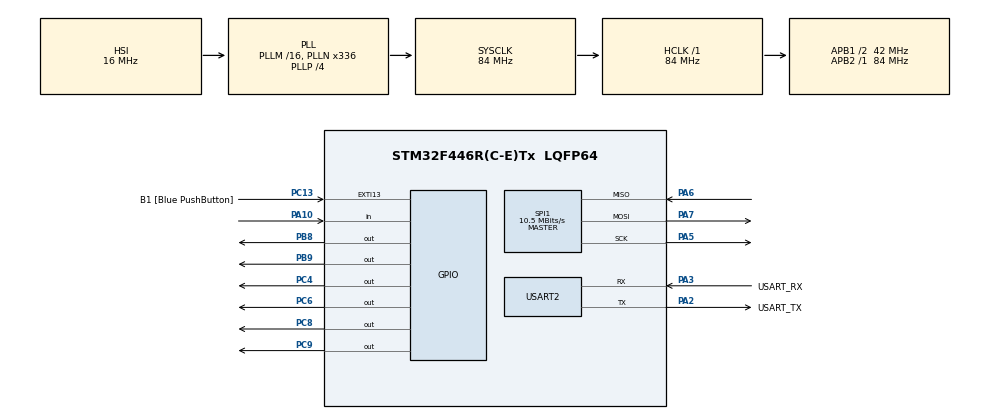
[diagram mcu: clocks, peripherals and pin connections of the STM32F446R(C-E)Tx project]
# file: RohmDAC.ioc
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Mcu.Family=STM32F4
Mcu.Name=STM32F446R(C-E)Tx
Mcu.Package=LQFP64
NVIC.PriorityGroup=NVIC_PRIORITYGROUP_0
PA10.Signal=GPIO_Input
PA13.GPIO_Label=TMS
PA13.Mode=Serial_Wire
PA13.Signal=SYS_JTMS-SWDIO
PA14.GPIO_Label=TCK
PA14.Mode=Serial_Wire
PA14.Signal=SYS_JTCK-SWCLK
PA2.GPIO_Label=USART_TX
PA2.Mode=Asynchronous
PA2.Signal=USART2_TX
PA3.GPIO_Label=USART_RX
PA3.Mode=Asynchronous
PA3.Signal=USART2_RX
PA5.Mode=Full_Duplex_Master
PA5.Signal=SPI1_SCK
PA6.Mode=Full_Duplex_Master
PA6.Signal=SPI1_MISO
PA7.Mode=Full_Duplex_Master
PA7.Signal=SPI1_MOSI
PB3.GPIO_Label=SWO
PB3.Signal=SYS_JTDO-SWO
PB8.Signal=GPIO_Output
PB9.Signal=GPIO_Output
PC13.GPIO_Label=B1 [Blue PushButton]
PC13.GPIO_ModeDefaultEXTI=GPIO_MODE_IT_FALLING
PC13.Signal=GPXTI13
PC14-OSC32_IN.Mode=LSE-External-Oscillator
PC14-OSC32_IN.Signal=RCC_OSC32_IN
PC15-OSC32_OUT.Mode=LSE-External-Oscillator
PC15-OSC32_OUT.Signal=RCC_OSC32_OUT
PC4.Signal=GPIO_Output
PC6.Signal=GPIO_Output
PC8.Signal=GPIO_Output
PC9.Signal=GPIO_Output
PH0-OSC_IN.Mode=HSE-External-Oscillator
PH0-OSC_IN.Signal=RCC_OSC_IN
PH1-OSC_OUT.Mode=HSE-External-Oscillator
PH1-OSC_OUT.Signal=RCC_OSC_OUT
ProjectManager.HeapSize=0x200
ProjectManager.StackSize=0x400
ProjectManager.TargetToolchain=STM32CubeIDE
RCC.48MHZClocksFreq_Value=84000000
RCC.AHBFreq_Value=84000000
RCC.APB1CLKDivider=RCC_HCLK_DIV2
RCC.APB1Freq_Value=42000000
RCC.APB1TimFreq_Value=84000000
RCC.APB2Freq_Value=84000000
RCC.APB2TimFreq_Value=84000000
RCC.CortexFreq_Value=84000000
RCC.FLatency-AdvancedSettings=FLASH_LATENCY_2
RCC.HCLKFreq_Value=84000000
RCC.HSE_VALUE=8000000
RCC.HSI_VALUE=16000000
RCC.PLLN=336
RCC.PLLP=RCC_PLLP_DIV4
RCC.SYSCLKFreq_VALUE=84000000
RCC.SYSCLKSource=RCC_SYSCLKSOURCE_PLLCLK
RCC.USBFreq_Value=168000000
RCC.VCOOutputFreq_Value=336000000
SPI1.BaudRatePrescaler=SPI_BAUDRATEPRESCALER_8
SPI1.CLKPolarity=SPI_POLARITY_HIGH
SPI1.CalculateBaudRate=10.5 MBits/s
SPI1.Direction=SPI_DIRECTION_2LINES
SPI1.Mode=SPI_MODE_MASTER
SPI1.VirtualType=VM_MASTER
USART2.VirtualMode=VM_ASYNC
board=NUCLEO-F446RE

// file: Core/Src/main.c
/* USER CODE BEGIN Header */
/**
  ******************************************************************************
  * @file           : main.c
  * @brief          : Main program body
  ******************************************************************************
  * @attention
  *
  * Copyright (c) 2024 STMicroelectronics.
  * All rights reserved.
  *
  * This software is licensed under terms that can be found in the LICENSE file
  * in the root directory of this software component.
  * If no LICENSE file comes with this software, it is provided AS-IS.
  *
  ******************************************************************************
  */
/* USER CODE END Header */
#include "main.h"

SPI_HandleTypeDef hspi1;

UART_HandleTypeDef huart2;

void SystemClock_Config(void);
static void MX_GPIO_Init(void);
static void MX_USART2_UART_Init(void);
static void MX_SPI1_Init(void);

/* USER CODE BEGIN 0 */
void spi_write_8(uint8_t data){
  uint8_t rx_data[1];
  uint8_t tx_data[1];

  tx_data[0] = data;

  HAL_SPI_TransmitReceive(&hspi1, tx_data, rx_data, 1, 1);  //spinumber, tx, rx, data number, timeout
  HAL_GPIO_WritePin(GPIOA, GPIO_PIN_7, GPIO_PIN_SET);
}

void spi_write_8x3(uint8_t deviceAddr, uint8_t regAddr, uint8_t data){
	spi_write_8(deviceAddr);
	spi_write_8(regAddr);
	spi_write_8(data);
}

void initBD34352EKV(){
	spi_write_8x3(0x38, 0x04, 0x02);
	spi_write_8x3(0x38, 0x06, 0x00);
	spi_write_8x3(0x38, 0x10, 0b00001011);
	spi_write_8x3(0x38, 0x12, 0x00);
	spi_write_8x3(0x38, 0x13, 0x00);
	spi_write_8x3(0x38, 0x14, 0x00);
	spi_write_8x3(0x38, 0x16, 0b00000100);
	spi_write_8x3(0x38, 0x17, 0x00);
	spi_write_8x3(0x38, 0x20, 0x78);
	spi_write_8x3(0x38, 0x21, 0x00);
	spi_write_8x3(0x38, 0x22, 0x00);
	spi_write_8x3(0x38, 0x29, 0x08);
	spi_write_8x3(0x38, 0x30, 0x00);
	spi_write_8x3(0x38, 0x31, 0x00);
	spi_write_8x3(0x38, 0x33, 0x00);
	spi_write_8x3(0x38, 0x34, 0x00);
	spi_write_8x3(0x38, 0x40, 0x00);
	spi_write_8x3(0x38, 0x41, 0x00);
	spi_write_8x3(0x38, 0x42, 0x16);
	spi_write_8x3(0x38, 0x43, 0x2d);
	spi_write_8x3(0x38, 0x48, 0x0d);
	spi_write_8x3(0x38, 0x60, 0x16);
	spi_write_8x3(0x38, 0x61, 0x16);

	spi_write_8x3(0x38, 0x00, 0x01);
	spi_write_8x3(0x38, 0x02, 0x01);

	spi_write_8x3(0x38, 0xd0, 0x6a);
	spi_write_8x3(0x38, 0xd3, 0x10);
	spi_write_8x3(0x38, 0xd3, 0x00);
	spi_write_8x3(0x38, 0xd0, 0x00);

	spi_write_8x3(0x38, 0x03, 0x01);
	spi_write_8x3(0x38, 0x2f, 0x80);
	spi_write_8x3(0x38, 0x2f, 0x00);
	spi_write_8x3(0x38, 0x2a, 0x03);
}
/* USER CODE END 0 */

int main(void)
{

  /* MCU Configuration--------------------------------------------------------*/

  /* Reset of all peripherals, Initializes the Flash interface and the Systick. */
  HAL_Init();

  /* USER CODE BEGIN Init */
  HAL_Delay(1);
  HAL_GPIO_WritePin(GPIOC, GPIO_PIN_9, GPIO_PIN_SET);
  HAL_Delay(1);
  HAL_GPIO_WritePin(GPIOC, GPIO_PIN_8, GPIO_PIN_SET);
  HAL_Delay(1);
  HAL_GPIO_WritePin(GPIOB, GPIO_PIN_8, GPIO_PIN_SET);
  HAL_Delay(1);
  HAL_GPIO_WritePin(GPIOC, GPIO_PIN_6, GPIO_PIN_SET);
  HAL_Delay(1);
  HAL_GPIO_WritePin(GPIOB, GPIO_PIN_9, GPIO_PIN_SET);
  HAL_Delay(1);

  /* USER CODE END Init */

  /* Configure the system clock */
  SystemClock_Config();

  /* Initialize all configured peripherals */
  MX_GPIO_Init();
  MX_USART2_UART_Init();
  MX_SPI1_Init();

  /* Infinite loop */
  while (1)
  {

    /* USER CODE BEGIN 3 */
	HAL_Delay(1);
    HAL_GPIO_WritePin(GPIOC, GPIO_PIN_9, GPIO_PIN_SET);
    HAL_Delay(1);
    HAL_GPIO_WritePin(GPIOC, GPIO_PIN_8, GPIO_PIN_SET);
    HAL_Delay(1);
    HAL_GPIO_WritePin(GPIOB, GPIO_PIN_8, GPIO_PIN_SET);
    HAL_Delay(1);
    HAL_GPIO_WritePin(GPIOC, GPIO_PIN_6, GPIO_PIN_SET);
    HAL_Delay(1);
    HAL_GPIO_WritePin(GPIOB, GPIO_PIN_9, GPIO_PIN_SET);
    HAL_Delay(1);
    HAL_GPIO_WritePin(GPIOA, GPIO_PIN_7, GPIO_PIN_SET);
    HAL_Delay(1);
    initBD34352EKV();
    /*
	spi_write_8x3(0x38, 0x04, 0x02);	//HiResならdata�?0x02じゃなくて0x00
	spi_write_8x3(0x38, 0x06, 0x00);
	spi_write_8x3(0x38, 0x10, 0x0b);
	spi_write_8x3(0x38, 0x30, 0x01);	//hiresなら適宜変更
	spi_write_8x3(0x38, 0x31, 0x80);	//hiresなら適宜変更
	spi_write_8x3(0x38, 0x40, 0x02);	//hiresなら適宜変更
	spi_write_8x3(0x38, 0x60, 0x16);
	spi_write_8x3(0x38, 0x61, 0x16);
	*/
    HAL_GPIO_WritePin(GPIOA, GPIO_PIN_7, GPIO_PIN_SET);
	HAL_Delay(1000000);

  }
  /* USER CODE END 3 */
}

void SystemClock_Config(void)
{
  RCC_OscInitTypeDef RCC_OscInitStruct = {0};
  RCC_ClkInitTypeDef RCC_ClkInitStruct = {0};

  /** Configure the main internal regulator output voltage
  */
  __HAL_RCC_PWR_CLK_ENABLE();
  __HAL_PWR_VOLTAGESCALING_CONFIG(PWR_REGULATOR_VOLTAGE_SCALE3);

  /** Initializes the RCC Oscillators according to the specified parameters
  * in the RCC_OscInitTypeDef structure.
  */
  RCC_OscInitStruct.OscillatorType = RCC_OSCILLATORTYPE_HSI;
  RCC_OscInitStruct.HSIState = RCC_HSI_ON;
  RCC_OscInitStruct.HSICalibrationValue = RCC_HSICALIBRATION_DEFAULT;
  RCC_OscInitStruct.PLL.PLLState = RCC_PLL_ON;
  RCC_OscInitStruct.PLL.PLLSource = RCC_PLLSOURCE_HSI;
  RCC_OscInitStruct.PLL.PLLM = 16;
  RCC_OscInitStruct.PLL.PLLN = 336;
  RCC_OscInitStruct.PLL.PLLP = RCC_PLLP_DIV4;
  RCC_OscInitStruct.PLL.PLLQ = 2;
  RCC_OscInitStruct.PLL.PLLR = 2;
  if (HAL_RCC_OscConfig(&RCC_OscInitStruct) != HAL_OK)
  {
    Error_Handler();
  }

  /** Initializes the CPU, AHB and APB buses clocks
  */
  RCC_ClkInitStruct.ClockType = RCC_CLOCKTYPE_HCLK|RCC_CLOCKTYPE_SYSCLK
                              |RCC_CLOCKTYPE_PCLK1|RCC_CLOCKTYPE_PCLK2;
  RCC_ClkInitStruct.SYSCLKSource = RCC_SYSCLKSOURCE_PLLCLK;
  RCC_ClkInitStruct.AHBCLKDivider = RCC_SYSCLK_DIV1;
  RCC_ClkInitStruct.APB1CLKDivider = RCC_HCLK_DIV2;
  RCC_ClkInitStruct.APB2CLKDivider = RCC_HCLK_DIV1;

  if (HAL_RCC_ClockConfig(&RCC_ClkInitStruct, FLASH_LATENCY_2) != HAL_OK)
  {
    Error_Handler();
  }
}

static void MX_SPI1_Init(void)
{

  /* SPI1 parameter configuration*/
  hspi1.Instance = SPI1;
  hspi1.Init.Mode = SPI_MODE_MASTER;
  hspi1.Init.Direction = SPI_DIRECTION_2LINES;
  hspi1.Init.DataSize = SPI_DATASIZE_8BIT;
  hspi1.Init.CLKPolarity = SPI_POLARITY_HIGH;
  hspi1.Init.CLKPhase = SPI_PHASE_1EDGE;
  hspi1.Init.NSS = SPI_NSS_SOFT;
  hspi1.Init.BaudRatePrescaler = SPI_BAUDRATEPRESCALER_8;
  hspi1.Init.FirstBit = SPI_FIRSTBIT_MSB;
  hspi1.Init.TIMode = SPI_TIMODE_DISABLE;
  hspi1.Init.CRCCalculation = SPI_CRCCALCULATION_DISABLE;
  hspi1.Init.CRCPolynomial = 10;
  if (HAL_SPI_Init(&hspi1) != HAL_OK)
  {
    Error_Handler();
  }

}

static void MX_USART2_UART_Init(void)
{

  huart2.Instance = USART2;
  huart2.Init.BaudRate = 115200;
  huart2.Init.WordLength = UART_WORDLENGTH_8B;
  huart2.Init.StopBits = UART_STOPBITS_1;
  huart2.Init.Parity = UART_PARITY_NONE;
  huart2.Init.Mode = UART_MODE_TX_RX;
  huart2.Init.HwFlowCtl = UART_HWCONTROL_NONE;
  huart2.Init.OverSampling = UART_OVERSAMPLING_16;
  if (HAL_UART_Init(&huart2) != HAL_OK)
  {
    Error_Handler();
  }

}

static void MX_GPIO_Init(void)
{
  GPIO_InitTypeDef GPIO_InitStruct = {0};

  /* GPIO Ports Clock Enable */
  __HAL_RCC_GPIOC_CLK_ENABLE();
  __HAL_RCC_GPIOH_CLK_ENABLE();
  __HAL_RCC_GPIOA_CLK_ENABLE();
  __HAL_RCC_GPIOB_CLK_ENABLE();

  /*Configure GPIO pin Output Level */
  HAL_GPIO_WritePin(GPIOC, GPIO_PIN_4|GPIO_PIN_6|GPIO_PIN_8|GPIO_PIN_9, GPIO_PIN_RESET);

  /*Configure GPIO pin Output Level */
  HAL_GPIO_WritePin(GPIOB, GPIO_PIN_8|GPIO_PIN_9, GPIO_PIN_RESET);

  /*Configure GPIO pin : B1_Pin */
  GPIO_InitStruct.Pin = B1_Pin;
  GPIO_InitStruct.Mode = GPIO_MODE_IT_FALLING;
  GPIO_InitStruct.Pull = GPIO_NOPULL;
  HAL_GPIO_Init(B1_GPIO_Port, &GPIO_InitStruct);

  /*Configure GPIO pins : PC4 PC6 PC8 PC9 */
  GPIO_InitStruct.Pin = GPIO_PIN_4|GPIO_PIN_6|GPIO_PIN_8|GPIO_PIN_9;
  GPIO_InitStruct.Mode = GPIO_MODE_OUTPUT_PP;
  GPIO_InitStruct.Pull = GPIO_NOPULL;
  GPIO_InitStruct.Speed = GPIO_SPEED_FREQ_LOW;
  HAL_GPIO_Init(GPIOC, &GPIO_InitStruct);

  /*Configure GPIO pin : PA10 */
  GPIO_InitStruct.Pin = GPIO_PIN_10;
  GPIO_InitStruct.Mode = GPIO_MODE_INPUT;
  GPIO_InitStruct.Pull = GPIO_NOPULL;
  HAL_GPIO_Init(GPIOA, &GPIO_InitStruct);

  /*Configure GPIO pins : PB8 PB9 */
  GPIO_InitStruct.Pin = GPIO_PIN_8|GPIO_PIN_9;
  GPIO_InitStruct.Mode = GPIO_MODE_OUTPUT_PP;
  GPIO_InitStruct.Pull = GPIO_NOPULL;
  GPIO_InitStruct.Speed = GPIO_SPEED_FREQ_LOW;
  HAL_GPIO_Init(GPIOB, &GPIO_InitStruct);

}

void Error_Handler(void)
{
  __disable_irq();
  while (1)
  {
  }
}
